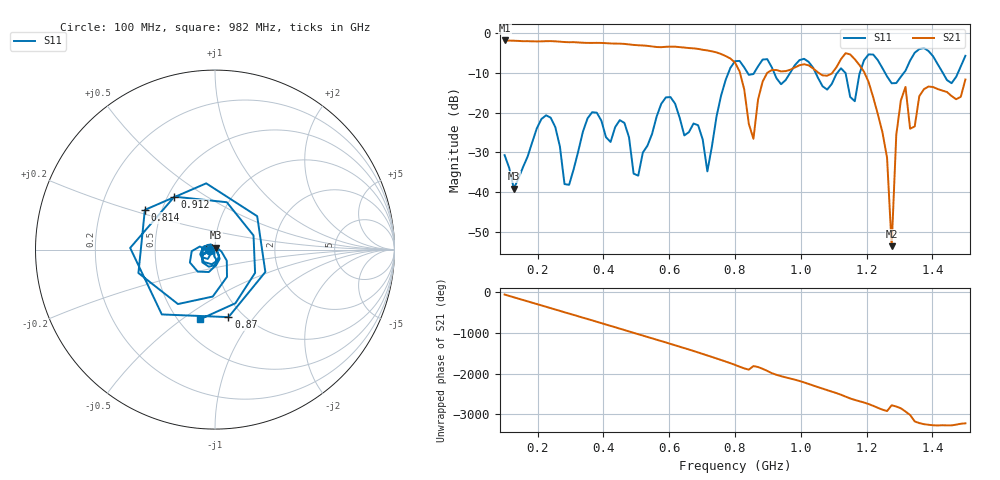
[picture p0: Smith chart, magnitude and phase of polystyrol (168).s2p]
! NanoVNA-App
! Date: 2025-09-25 15:31:12
! Start: 100MHz Stop: 1,5GHz Points: 101
! S-Parameter data: F S11 S21 S12 S22
# Hz S RI R 50
!  Frequency  S11_Real  S11_Imag  S21_Real  S21_Imag  S12_Real  S12_Imag  S22_Real  S22_Imag
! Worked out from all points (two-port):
!   101 points, 100 MHz to 1.5 GHz, reference 50 ohm
!   highest |S21| = -1.80 dB at 100 MHz (marker M1); lowest = -53.6 dB at 1.276 GHz (marker M2)
!   |S21| within 3 dB of the highest: start of sweep to 743.2 MHz
!   lowest |S11| = -39.1 dB at 128 MHz (marker M3), VSWR 1.02, Z = 50.3 + j1.06 ohm
!   |S11| at or under -10 dB: start of sweep to 779.8 MHz; 1.045 GHz to 1.111 GHz (65.32 MHz wide, 6.06 % of centre); 1.136 GHz to 1.179 GHz (43.29 MHz wide, 3.74 % of centre) (the widest 3 of 7)
!   S12 and S22 are empty: the file has one direction only
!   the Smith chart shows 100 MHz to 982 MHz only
!   S11 on the Smith chart (normalised r, x): 100 MHz: 0.94, -0.01; 814 MHz: 0.40, +0.22; 870 MHz: 0.86, -0.75; 912 MHz: 0.54, +0.37; 982 MHz: 0.63, -0.59
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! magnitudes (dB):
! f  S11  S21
! 100 MHz  -30.7  -1.8
! 128 MHz  -39.1  -1.9
! 212 MHz  -21.6  -2.0
! 282 MHz  -38.0  -2.2
! 338 MHz  -24.7  -2.4
! 506 MHz  -35.9  -3.0
! 576 MHz  -17.8  -3.5
! 716 MHz  -34.8  -4.3
! 800 MHz  -7.0  -7.4
! 814 MHz  -7.0  -9.6
! 856 MHz  -10.3  -26.6
! 870 MHz  -8.3  -16.7
! 912 MHz  -8.6  -9.3
! 982 MHz  -8.0  -8.6
! 1.038 GHz  -8.7  -8.9
! 1.164 GHz  -17.1  -6.5
! 1.206 GHz  -5.3  -12.3
! 1.262 GHz  -10.9  -31.4
! 1.276 GHz  -12.6  -53.6
! 1.29 GHz  -12.5  -25.6
! 1.318 GHz  -9.4  -13.5
! 1.5 GHz  -5.7  -11.6
